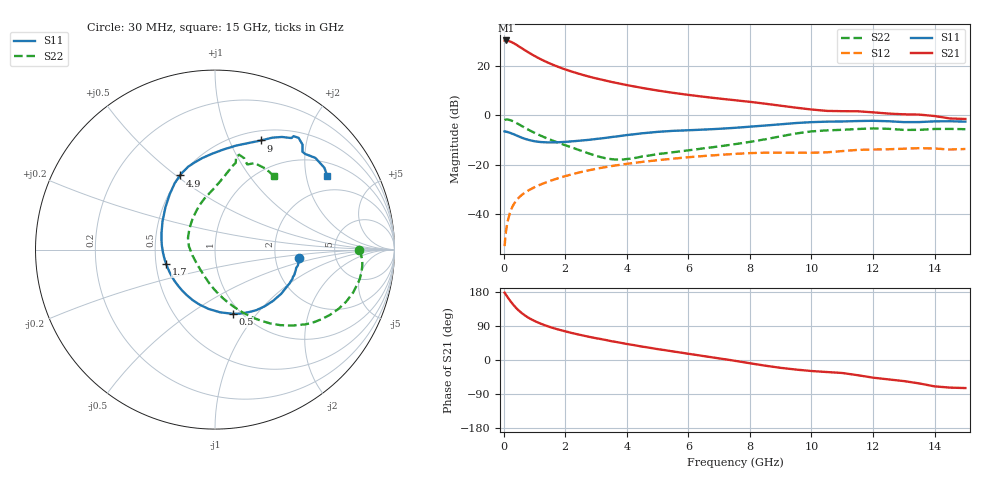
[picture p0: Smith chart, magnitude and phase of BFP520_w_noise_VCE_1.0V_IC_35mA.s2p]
! (c) 2015  Infineon Technologies AG, Munich
! Infineon Technologies  Discrete & RF Semiconductors
! BFP520
! VCE =  1.0 V,  IC =  35 mA
! Common Emitter S-Parameters:  Oct 2015
# GHz  S  MA  R  50
!  f  S11  S21  S12  S22
! GHz  MAG  ANG  MAG  ANG  MAG  ANG  MAG  ANG
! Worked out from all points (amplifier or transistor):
!   109 points, 30 MHz to 15 GHz, reference 50 ohm
!   highest |S21| = 30.5 dB at 70 MHz (marker M1)
!   |S21| within 3 dB of that: start of sweep to 569.1 MHz
!   unconditionally stable (mu >= 1): start of sweep to 64.61 MHz; 1.718 GHz to end of sweep
!   at 450 MHz: K = 0.54, MSG = 31.2 dB, |S12| = -34.0 dB
!   at 4 GHz: K = 1.20, MAG = 13.3 dB, |S12| = -19.7 dB
!   at 15 GHz: K = 1.32, MAG = 2.7 dB, |S12| = -13.6 dB
!   lowest NFmin = 2.65 dB at 900 MHz
!   S11 on the Smith chart (normalised r, x): 30 MHz: 2.75, -0.35; 500 MHz: 0.92, -0.76; 1.7 GHz: 0.57, -0.10; 4.9 GHz: 0.49, +0.52; 9 GHz: 0.61, +1.32; 15 GHz: 1.43, +2.66
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0.03  0.4733 -6.0  33.26 177.5  0.0022 100.1  0.8049 -0.1
0.07  0.4637 -12.8  33.39 172.5  0.0041 89.6  0.8221 -4.4
0.14  0.4566 -24.2  32.85 164.3  0.0075 82.2  0.8225 -11.5
0.2  0.4436 -33.7  31.97 157.5  0.0103 78.9  0.8062 -17.2
0.3  0.4202 -48.6  29.93 146.9  0.0146 73.8  0.763 -25.7
0.4  0.3952 -62.0  27.57 137.8  0.0183 70.1  0.7099 -33.1
0.5  0.3714 -74.5  25.16 129.9  0.0216 67.3  0.6554 -39.4
0.7  0.3328 -95.9  20.94 117.0  0.0273 63.6  0.5559 -49.2
0.8  0.3191 -105.2  19.14 111.8  0.0298 62.2  0.5137 -53.2
1  0.2988 -121.6  16.21 103.1  0.0347 60.6  0.4437 -59.9
1.3  0.2854 -142.1  12.98 92.8  0.0417 58.8  0.365 -68.2
1.7  0.2835 -163.5  10.1 82.2  0.0511 56.7  0.2905 -78.1
2.2  0.297 175.6  7.818 71.5  0.0631 53.4  0.2246 -90.4
2.6  0.3122 162.6  6.581 64.2  0.0727 50.4  0.1834 -101.8
3.5  0.3632 139.5  4.797 49.6  0.0934 42.4  0.1293 -139.8
4.9  0.4568 115.3  3.287 30.1  0.1209 29.5  0.1598 159.4
5.1  0.4674 112.7  3.14 27.6  0.1246 27.7  0.1665 153.7
7.6  0.5651 83.9  2.01 -3.2  0.1663 3.9  0.2654 108.1
9  0.6602 67.1  1.576 -20.7  0.1749 -10.8  0.3764 86.2
10.5  0.7471 56.5  1.236 -31.7  0.1779 -18.8  0.4967 76.6
13  0.7312 48.2  1.053 -55.6  0.2104 -39.9  0.508 69.4
15  0.7476 33.2  0.847 -74.0  0.2078 -56.2  0.5249 51.1
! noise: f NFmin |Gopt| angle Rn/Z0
0.45  2.66  0.09  -142  0.28
0.9  2.65  0.1  -137  0.31
1.9  2.82  0.14  -118  0.32
2.4  2.81  0.16  -115  0.31
3.5  2.77  0.17  -104  0.35
